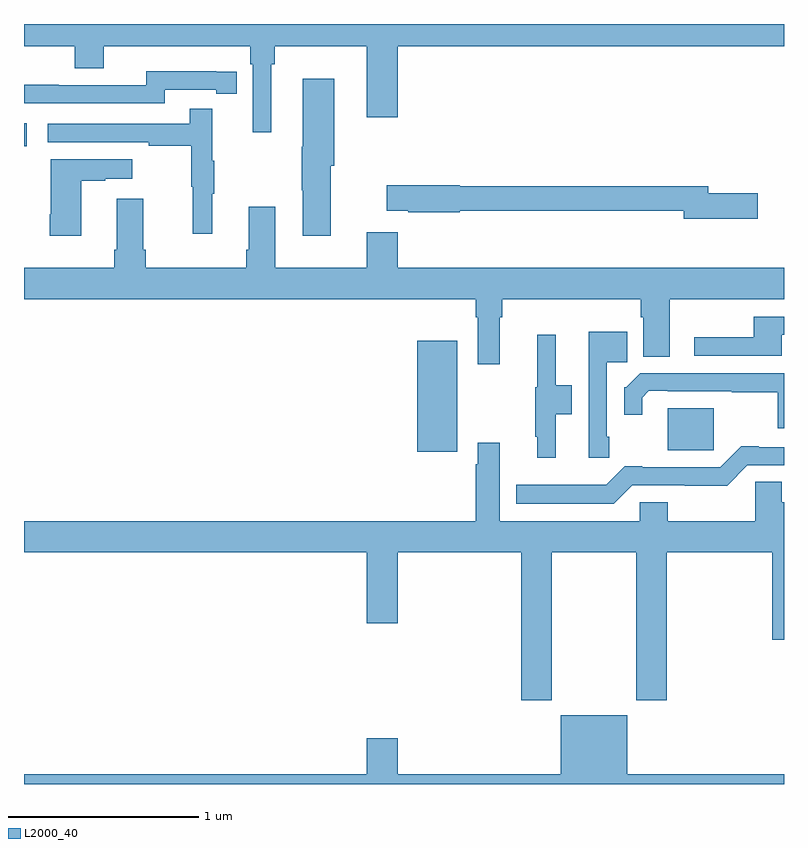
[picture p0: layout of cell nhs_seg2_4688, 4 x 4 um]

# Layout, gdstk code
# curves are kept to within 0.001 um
import gdstk
lib = gdstk.Library(unit=1e-6, precision=1e-09)
def R(c, l, rs):  # rectangles x0, y0, x1, y1
    for r in rs: c.add(gdstk.rectangle(r[:2], r[2:], *l))
def P(c, l, *ps):  # polygons
    for p in ps: c.add(gdstk.Polygon(p, *l))
L2000_40 = (2000, 40)

nhs_seg2_4688 = lib.new_cell('nhs_seg2_4688')
R(nhs_seg2_4688, L2000_40, [(369.071,597.548,369.28,598.132), (370.388,597.557,370.63,597.778), (367,599.157,367.015,599.278)])
P(nhs_seg2_4688, L2000_40, [(368.302,599.588),(368.321,599.588),(368.321,599.684),(368.804,599.684),(368.804,599.31),(368.968,599.31),(368.968,599.684),(371,599.684),(371,599.8),(367,599.8),(367,599.684),(367.268,599.684),(367.268,599.567),(367.42,599.567),(367.42,599.684),(368.192,599.684),(368.192,599.588),(368.205,599.588),(368.205,599.229),(368.302,599.229)],
  [(367.74,599.454),(368.012,599.454),(368.012,599.434),(368.12,599.434),(368.12,599.55),(368.012,599.55),(368.012,599.551),(367.644,599.551),(367.644,599.478),(367.184,599.478),(367.184,599.48),(367,599.48),(367,599.382),(367.74,599.382)],
  [(368.614,599.054),(368.632,599.054),(368.632,599.512),(368.468,599.512),(368.468,599.154),(368.461,599.154),(368.461,598.924),(368.468,598.924),(368.468,598.686),(368.614,598.686)],
  [(367.991,598.907),(368.002,598.907),(368.002,599.081),(367.991,599.081),(367.991,599.353),(367.873,599.353),(367.873,599.274),(367.125,599.274),(367.125,599.178),(367.657,599.178),(367.657,599.158),(367.881,599.158),(367.881,598.944),(367.888,598.944),(367.888,598.695),(367.991,598.695)],
  [(367.3,598.975),(367.427,598.975),(367.427,598.985),(367.57,598.985),(367.57,599.089),(367.142,599.089),(367.142,598.798),(367.135,598.798),(367.135,598.686),(367.3,598.686)],
  [(370.861,598.91),(370.6,598.91),(370.6,598.946),(369.294,598.946),(369.294,598.952),(368.91,598.952),(368.91,598.817),(369.022,598.817),(369.022,598.81),(369.294,598.81),(369.294,598.818),(370.472,598.818),(370.472,598.775),(370.861,598.775)],
  [(369.377,598.256),(369.389,598.256),(369.389,598.008),(369.505,598.008),(369.505,598.256),(369.518,598.256),(369.518,598.352),(370.247,598.352),(370.247,598.256),(370.259,598.256),(370.259,598.048),(370.399,598.048),(370.399,598.352),(371,598.352),(371,598.516),(368.968,598.516),(368.968,598.705),(368.804,598.705),(368.804,598.516),(368.323,598.516),(368.323,598.837),(368.183,598.837),(368.183,598.612),(368.171,598.612),(368.171,598.516),(367.64,598.516),(367.64,598.612),(367.627,598.612),(367.627,598.879),(367.487,598.879),(367.487,598.612),(367.475,598.612),(367.475,598.516),(367,598.516),(367,598.352),(369.377,598.352)],
  [(370.987,598.164),(371,598.164),(371,598.26),(370.84,598.26),(370.84,598.151),(370.527,598.151),(370.527,598.053),(370.987,598.053)],
  [(370.081,597.628),(370.068,597.628),(370.068,598.02),(370.174,598.02),(370.174,598.18),(369.972,598.18),(369.972,597.516),(370.081,597.516)],
  [(369.799,597.745),(369.883,597.745),(369.883,597.9),(369.799,597.9),(369.799,598.165),(369.701,598.165),(369.701,597.888),(369.69,597.888),(369.69,597.628),(369.701,597.628),(369.701,597.516),(369.799,597.516)],
  [(371,597.963),(370.244,597.963),(370.169,597.888),(370.158,597.888),(370.158,597.744),(370.253,597.744),(370.253,597.834),(370.288,597.87),(370.387,597.87),(370.387,597.867),(370.726,597.867),(370.726,597.862),(370.968,597.862),(370.968,597.672),(371,597.672)],
  [(369.777,597.02),(370.222,597.02),(370.222,596.241),(370.382,596.241),(370.382,597.02),(370.937,597.02),(370.937,596.559),(371,596.559),(371,597.282),(370.987,597.282),(370.987,597.392),(370.848,597.392),(370.848,597.184),(370.389,597.184),(370.389,597.282),(370.242,597.282),(370.242,597.184),(369.505,597.184),(369.505,597.595),(369.389,597.595),(369.389,597.482),(369.377,597.482),(369.377,597.184),(367,597.184),(367,597.02),(368.804,597.02),(368.804,596.646),(368.968,596.646),(368.968,597.02),(369.617,597.02),(369.617,596.241),(369.777,596.241)],
  [(370.2,597.372),(370.7,597.371),(370.806,597.477),(371,597.477),(371,597.573),(370.867,597.573),(370.867,597.578),(370.775,597.578),(370.665,597.468),(370.255,597.468),(370.255,597.473),(370.163,597.473),(370.065,597.375),(369.59,597.376),(369.59,597.275),(370.103,597.275)],
  [(371,595.852),(370.174,595.852),(370.174,596.161),(369.824,596.161),(369.824,595.852),(368.968,595.852),(368.968,596.041),(368.804,596.041),(368.804,595.852),(367,595.852),(367,595.8),(371,595.8)])

lib.write_gds('nhs_seg2_4688.gds')
